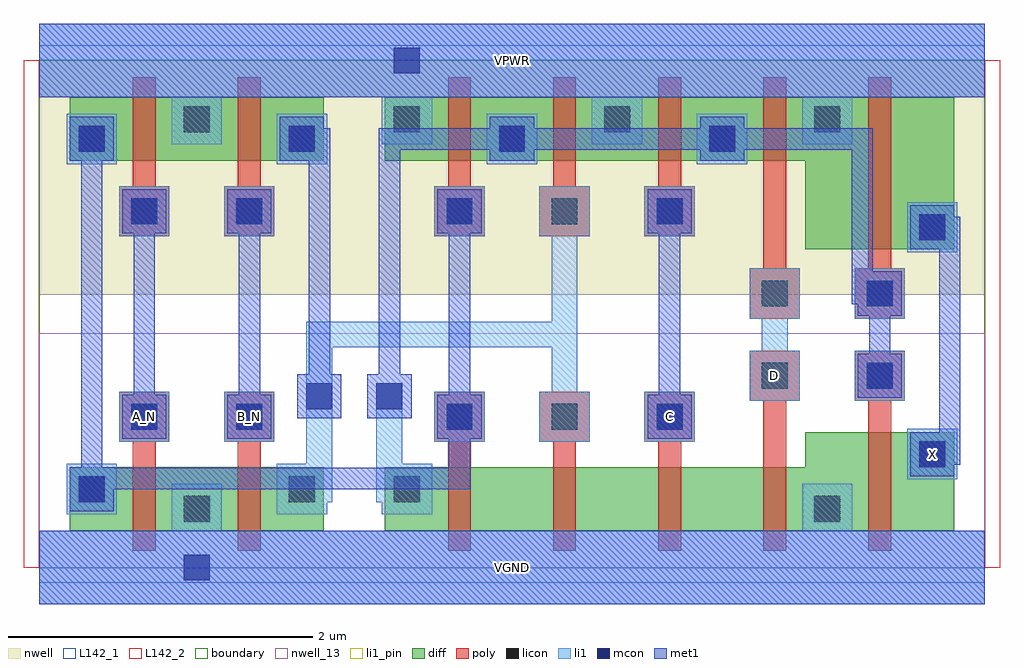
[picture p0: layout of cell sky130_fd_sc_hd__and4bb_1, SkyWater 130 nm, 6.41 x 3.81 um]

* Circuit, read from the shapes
.subckt sky130_fd_sc_hd__and4bb_1 A_N B_N C D VGND VPWR X
XM1 VGND A_N n1 VSUBS sky130_fd_pr__nfet_01v8 w=0.42 l=0.15
XM2 n2 B_N VGND VSUBS sky130_fd_pr__nfet_01v8 w=0.42 l=0.15
XM3 n3 n1 n4 VSUBS sky130_fd_pr__nfet_01v8 w=0.42 l=0.15
XM4 n5 n2 n3 VSUBS sky130_fd_pr__nfet_01v8 w=0.42 l=0.15
XM5 n6 C n5 VSUBS sky130_fd_pr__nfet_01v8 w=0.42 l=0.15
XM6 VGND D n6 VSUBS sky130_fd_pr__nfet_01v8 w=0.42 l=0.15
XM7 X n4 VGND VSUBS sky130_fd_pr__nfet_01v8 w=0.65 l=0.15
XM8 VPWR A_N n1 n7 sky130_fd_pr__pfet_01v8 w=0.42 l=0.15
XM9 n2 B_N VPWR n7 sky130_fd_pr__pfet_01v8 w=0.42 l=0.15
XM10 n4 n1 VPWR n7 sky130_fd_pr__pfet_01v8 w=0.42 l=0.15
XM11 VPWR n2 n4 n7 sky130_fd_pr__pfet_01v8 w=0.42 l=0.15
XM12 n4 C VPWR n7 sky130_fd_pr__pfet_01v8 w=0.42 l=0.15
XM13 VPWR D n4 n7 sky130_fd_pr__pfet_01v8 w=0.42 l=0.15
XM14 X n4 VPWR n7 sky130_fd_pr__pfet_01v8 w=1 l=0.15
.ends

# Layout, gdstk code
import gdstk
lib = gdstk.Library(unit=1e-6, precision=1e-09)
def R(c, l, rs):  # rectangles x0, y0, x1, y1
    for r in rs: c.add(gdstk.rectangle(r[:2], r[2:], *l))
def A(c, l, x, y, w, h, nx, ny, dx, dy):  # array of equal rectangles
    R(c, l, [(x+i*dx, y+j*dy, x+i*dx+w, y+j*dy+h) for i in range(nx) for j in range(ny)])
def P(c, l, *ps):  # polygons
    for p in ps: c.add(gdstk.Polygon(p, *l))
nwell_13 = (64, 13)
nwell = (64, 20)
diff = (65, 20)
poly = (66, 20)
licon = (66, 44)
li1_pin = (67, 16)
li1 = (67, 20)
mcon = (67, 44)
met1 = (68, 20)
L142_1 = (142, 1)
L142_2 = (142, 2)
boundary = (235, 4)

sky130_fd_sc_hd__and4bb_ = lib.new_cell('sky130_fd_sc_hd__and4bb_1')
R(sky130_fd_sc_hd__and4bb_, nwell_13, [(0,0,6.21,1.54)])
R(sky130_fd_sc_hd__and4bb_, nwell, [(0,1.79,6.21,3.33)])
A(sky130_fd_sc_hd__and4bb_, diff, 2.685, 0.24, 0.69, 0.42, 3, 2, 0.69, 2.43)
R(sky130_fd_sc_hd__and4bb_, diff, [(0.2,0.24,1.87,0.66), (0.2,0.24,0.615,0.66), (0.615,0.24,1.305,0.66), (1.305,0.24,1.87,0.66), (2.27,0.24,2.685,0.66), (5.445,0.24,6.01,0.89), (5.445,2.09,6.01,3.09), (0.2,2.67,1.87,3.09), (0.2,2.67,0.615,3.09), (0.615,2.67,1.305,3.09), (1.305,2.67,1.87,3.09), (2.27,2.67,2.685,3.09)])
P(sky130_fd_sc_hd__and4bb_, diff, [(2.27,0.24),(2.27,0.66),(5.03,0.66),(5.03,0.89),(6.01,0.89),(6.01,0.24)],
  [(4.755,0.24),(4.755,0.66),(5.03,0.66),(5.03,0.89),(5.445,0.89),(5.445,0.24)],
  [(5.03,2.09),(5.03,2.67),(2.27,2.67),(2.27,3.09),(6.01,3.09),(6.01,2.09)],
  [(5.03,2.09),(5.03,2.67),(4.755,2.67),(4.755,3.09),(5.445,3.09),(5.445,2.09)])
P(sky130_fd_sc_hd__and4bb_, poly, [(3.375,0.11),(3.375,0.825),(3.285,0.825),(3.285,1.155),(3.615,1.155),(3.615,0.825),(3.525,0.825),(3.525,0.11)],
  [(3.285,2.175),(3.285,2.505),(3.375,2.505),(3.375,3.22),(3.525,3.22),(3.525,2.505),(3.615,2.505),(3.615,2.175)],
  [(5.445,0.11),(5.445,1.095),(5.355,1.095),(5.355,1.425),(5.685,1.425),(5.685,1.095),(5.595,1.095),(5.595,0.11)],
  [(5.355,1.635),(5.355,1.965),(5.445,1.965),(5.445,3.22),(5.595,3.22),(5.595,1.965),(5.685,1.965),(5.685,1.635)],
  [(1.305,0.11),(1.305,0.825),(1.215,0.825),(1.215,1.155),(1.545,1.155),(1.545,0.825),(1.455,0.825),(1.455,0.11)],
  [(1.215,2.175),(1.215,2.505),(1.305,2.505),(1.305,3.22),(1.455,3.22),(1.455,2.505),(1.545,2.505),(1.545,2.175)],
  [(4.755,0.11),(4.755,1.095),(4.665,1.095),(4.665,1.425),(4.995,1.425),(4.995,1.095),(4.905,1.095),(4.905,0.11)],
  [(4.665,1.635),(4.665,1.965),(4.755,1.965),(4.755,3.22),(4.905,3.22),(4.905,1.965),(4.995,1.965),(4.995,1.635)],
  [(0.615,0.11),(0.615,0.825),(0.525,0.825),(0.525,1.155),(0.855,1.155),(0.855,0.825),(0.765,0.825),(0.765,0.11)],
  [(0.525,2.175),(0.525,2.505),(0.615,2.505),(0.615,3.22),(0.765,3.22),(0.765,2.505),(0.855,2.505),(0.855,2.175)],
  [(4.065,0.11),(4.065,0.825),(3.975,0.825),(3.975,1.155),(4.305,1.155),(4.305,0.825),(4.215,0.825),(4.215,0.11)],
  [(3.975,2.175),(3.975,2.505),(4.065,2.505),(4.065,3.22),(4.215,3.22),(4.215,2.505),(4.305,2.505),(4.305,2.175)],
  [(2.685,0.11),(2.685,0.825),(2.595,0.825),(2.595,1.155),(2.925,1.155),(2.925,0.825),(2.835,0.825),(2.835,0.11)],
  [(2.595,2.175),(2.595,2.505),(2.685,2.505),(2.685,3.22),(2.835,3.22),(2.835,2.505),(2.925,2.505),(2.925,2.175)])
A(sky130_fd_sc_hd__and4bb_, licon, 2.675, 0.905, 0.17, 0.17, 3, 2, 0.69, 1.35)
A(sky130_fd_sc_hd__and4bb_, licon, 0.26, 2.73, 0.17, 0.17, 4, 1, 1.38, 0)
A(sky130_fd_sc_hd__and4bb_, licon, 0.95, 2.86, 0.17, 0.17, 4, 1, 1.38, 0)
R(sky130_fd_sc_hd__and4bb_, licon, [(0.95,0.3,1.12,0.47), (5.09,0.3,5.26,0.47), (0.26,0.43,0.43,0.6), (1.64,0.43,1.81,0.6), (2.33,0.43,2.5,0.6), (5.78,0.66,5.95,0.83), (0.605,0.905,0.775,1.075), (1.295,0.905,1.465,1.075), (4.745,1.175,4.915,1.345), (5.435,1.175,5.605,1.345), (4.745,1.715,4.915,1.885), (5.435,1.715,5.605,1.885), (5.78,2.15,5.95,2.32), (0.605,2.255,0.775,2.425), (1.295,2.255,1.465,2.425)])
R(sky130_fd_sc_hd__and4bb_, li1_pin, [(0,-0.24,6.21,0.24), (5.7,0.58,6.03,0.91), (0.525,0.825,0.855,1.155), (1.215,0.825,1.545,1.155), (3.975,0.825,4.305,1.155), (0,3.09,6.21,3.57)])
P(sky130_fd_sc_hd__and4bb_, li1_pin, [(4.665,1.095),(4.665,1.425),(4.745,1.425),(4.745,1.635),(4.665,1.635),(4.665,1.965),(4.995,1.965),(4.995,1.635),(4.915,1.635),(4.915,1.425),(4.995,1.425),(4.995,1.095)])
A(sky130_fd_sc_hd__and4bb_, li1, 1.215, 0.825, 0.33, 0.33, 3, 2, 1.38, 1.35)
A(sky130_fd_sc_hd__and4bb_, li1, 0.18, 2.65, 0.33, 0.33, 4, 1, 1.38, 0)
R(sky130_fd_sc_hd__and4bb_, li1, [(0.18,0.35,0.51,0.68), (5.7,0.58,6.03,0.91), (0.525,0.825,0.855,1.155), (5.355,1.095,5.685,1.425), (5.355,1.635,5.685,1.965), (5.7,2.07,6.03,2.4), (0.525,2.175,0.855,2.505)])
P(sky130_fd_sc_hd__and4bb_, li1, [(1.56,0.35),(1.56,0.68),(1.755,0.68),(1.755,1.615),(3.365,1.615),(3.365,2.175),(3.285,2.175),(3.285,2.505),(3.615,2.505),(3.615,2.175),(3.535,2.175),(3.535,1.155),(3.615,1.155),(3.615,0.825),(3.285,0.825),(3.285,1.155),(3.365,1.155),(3.365,1.445),(1.925,1.445),(1.925,0.43),(1.89,0.43),(1.89,0.35)],
  [(2.25,0.35),(2.25,0.43),(2.215,0.43),(2.215,1.21),(2.385,1.21),(2.385,0.68),(2.58,0.68),(2.58,0.35)],
  [(4.665,1.095),(4.665,1.425),(4.745,1.425),(4.745,1.635),(4.665,1.635),(4.665,1.965),(4.995,1.965),(4.995,1.635),(4.915,1.635),(4.915,1.425),(4.995,1.425),(4.995,1.095)],
  [(0.87,2.78),(0.87,3.09),(0,3.09),(0,3.57),(6.21,3.57),(6.21,3.09),(5.34,3.09),(5.34,2.78),(5.01,2.78),(5.01,3.09),(3.96,3.09),(3.96,2.78),(3.63,2.78),(3.63,3.09),(2.58,3.09),(2.58,2.78),(2.25,2.78),(2.25,3.09),(1.2,3.09),(1.2,2.78)],
  [(0,-0.24),(0,0.24),(0.87,0.24),(0.87,0.55),(1.2,0.55),(1.2,0.24),(5.01,0.24),(5.01,0.55),(5.34,0.55),(5.34,0.24),(6.21,0.24),(6.21,-0.24)])
A(sky130_fd_sc_hd__and4bb_, mcon, 1.295, 0.905, 0.17, 0.17, 3, 2, 1.38, 1.35)
A(sky130_fd_sc_hd__and4bb_, mcon, 0.26, 2.73, 0.17, 0.17, 4, 1, 1.38, 0)
R(sky130_fd_sc_hd__and4bb_, mcon, [(0.95,-0.085,1.12,0.085), (0.26,0.43,0.43,0.6), (5.78,0.66,5.95,0.83), (0.605,0.905,0.775,1.075), (1.755,1.04,1.925,1.21), (2.215,1.04,2.385,1.21), (5.435,1.175,5.605,1.345), (5.435,1.715,5.605,1.885), (5.78,2.15,5.95,2.32), (0.605,2.255,0.775,2.425), (2.33,3.245,2.5,3.415)])
R(sky130_fd_sc_hd__and4bb_, met1, [(0,-0.24,6.21,0.24), (0,3.09,6.21,3.57)])
P(sky130_fd_sc_hd__and4bb_, met1, [(1.695,0.98),(1.695,1.27),(1.77,1.27),(1.77,2.67),(1.58,2.67),(1.58,2.96),(1.87,2.96),(1.87,2.885),(1.91,2.885),(1.91,1.27),(1.985,1.27),(1.985,0.98)],
  [(2.155,0.98),(2.155,1.27),(2.23,1.27),(2.23,2.885),(2.96,2.885),(2.96,2.96),(3.25,2.96),(3.25,2.885),(4.34,2.885),(4.34,2.96),(4.63,2.96),(4.63,2.885),(5.475,2.885),(5.475,1.945),(5.665,1.945),(5.665,1.655),(5.59,1.655),(5.59,1.405),(5.665,1.405),(5.665,1.115),(5.375,1.115),(5.375,1.405),(5.45,1.405),(5.45,1.655),(5.375,1.655),(5.375,1.73),(5.335,1.73),(5.335,2.745),(4.63,2.745),(4.63,2.67),(4.34,2.67),(4.34,2.745),(3.25,2.745),(3.25,2.67),(2.96,2.67),(2.96,2.745),(2.37,2.745),(2.37,1.27),(2.445,1.27),(2.445,0.98)],
  [(1.235,0.845),(1.235,1.135),(1.31,1.135),(1.31,2.195),(1.235,2.195),(1.235,2.485),(1.525,2.485),(1.525,2.195),(1.45,2.195),(1.45,1.135),(1.525,1.135),(1.525,0.845)],
  [(0.545,0.845),(0.545,1.135),(0.62,1.135),(0.62,2.195),(0.545,2.195),(0.545,2.485),(0.835,2.485),(0.835,2.195),(0.76,2.195),(0.76,1.135),(0.835,1.135),(0.835,0.845)],
  [(3.995,0.845),(3.995,1.135),(4.07,1.135),(4.07,2.195),(3.995,2.195),(3.995,2.485),(4.285,2.485),(4.285,2.195),(4.21,2.195),(4.21,1.135),(4.285,1.135),(4.285,0.845)],
  [(0.2,0.37),(0.2,0.66),(0.275,0.66),(0.275,2.67),(0.2,2.67),(0.2,2.96),(0.49,2.96),(0.49,2.67),(0.415,2.67),(0.415,0.66),(0.49,0.66),(0.49,0.655),(2.69,0.655),(2.69,0.845),(2.615,0.845),(2.615,1.135),(2.69,1.135),(2.69,2.195),(2.615,2.195),(2.615,2.485),(2.905,2.485),(2.905,2.195),(2.83,2.195),(2.83,1.135),(2.905,1.135),(2.905,0.845),(2.83,0.845),(2.83,0.515),(0.49,0.515),(0.49,0.37)],
  [(5.72,0.6),(5.72,0.89),(5.91,0.89),(5.91,2.09),(5.72,2.09),(5.72,2.38),(6.01,2.38),(6.01,2.305),(6.05,2.305),(6.05,0.675),(6.01,0.675),(6.01,0.6)])
R(sky130_fd_sc_hd__and4bb_, L142_1, [(0,-0.1,6.21,0), (0,3.33,6.21,3.43)])
R(sky130_fd_sc_hd__and4bb_, L142_2, [(-0.1,0,0,3.33), (6.21,0,6.31,3.33)])
R(sky130_fd_sc_hd__and4bb_, boundary, [(0,0,6.21,3.33)])
sky130_fd_sc_hd__and4bb_.add(gdstk.Label('X', (5.865,0.745), layer=67, texttype=5))
sky130_fd_sc_hd__and4bb_.add(gdstk.Label('A_N', (0.69,0.99), layer=67, texttype=5))
sky130_fd_sc_hd__and4bb_.add(gdstk.Label('C', (4.14,0.99), layer=67, texttype=5))
sky130_fd_sc_hd__and4bb_.add(gdstk.Label('B_N', (1.38,0.99), layer=67, texttype=5))
sky130_fd_sc_hd__and4bb_.add(gdstk.Label('D', (4.83,1.26), layer=67, texttype=5))
sky130_fd_sc_hd__and4bb_.add(gdstk.Label('VGND', (3.105,0), layer=67, texttype=5))
sky130_fd_sc_hd__and4bb_.add(gdstk.Label('VPWR', (3.105,3.33), layer=67, texttype=5))
sky130_fd_sc_hd__and4bb_.add(gdstk.Label('VGND', (3.105,0), layer=68, texttype=5))
sky130_fd_sc_hd__and4bb_.add(gdstk.Label('VPWR', (3.105,3.33), layer=68, texttype=5))

lib.write_gds('sky130_fd_sc_hd__and4bb_1.gds')
